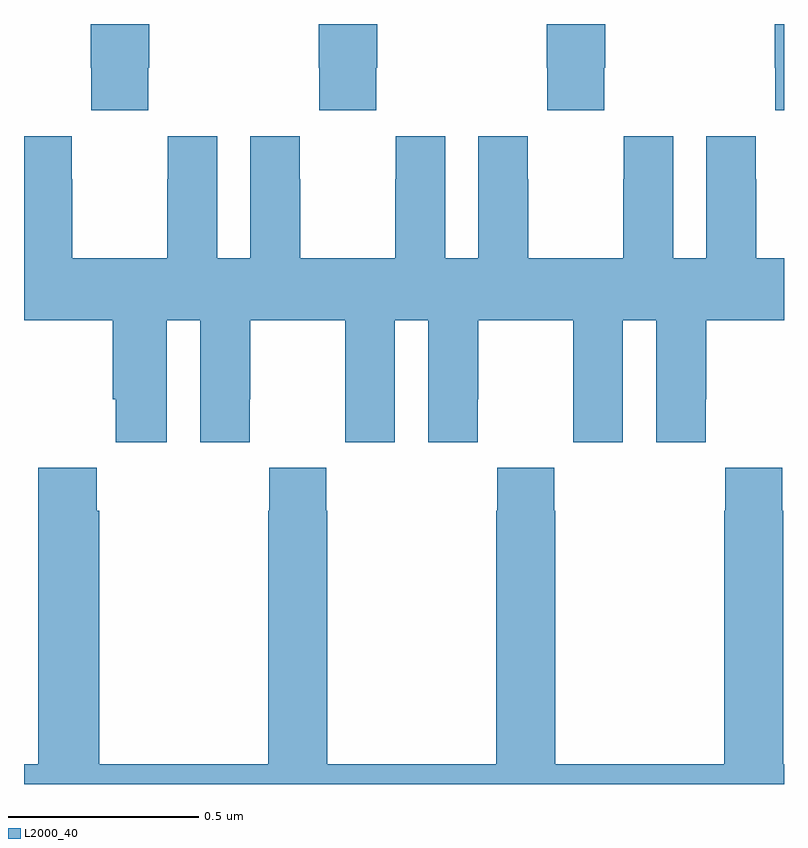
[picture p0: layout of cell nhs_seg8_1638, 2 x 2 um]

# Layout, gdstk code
import gdstk
lib = gdstk.Library(unit=1e-6, precision=1e-09)
def P(c, l, *ps):  # polygons
    for p in ps: c.add(gdstk.Polygon(p, *l))
L2000_40 = (2000, 40)

nhs_seg8_1638 = lib.new_cell('nhs_seg8_1638')
P(nhs_seg8_1638, L2000_40, [(132.327,1163.785),(132.33,1163.785),(132.33,1163.9),(132.175,1163.9),(132.175,1163.785),(132.177,1163.785),(132.177,1163.673),(132.327,1163.673)],
  [(132.927,1163.785),(132.93,1163.785),(132.93,1163.9),(132.775,1163.9),(132.775,1163.785),(132.777,1163.785),(132.777,1163.673),(132.927,1163.673)],
  [(133.527,1163.785),(133.53,1163.785),(133.53,1163.9),(133.375,1163.9),(133.375,1163.785),(133.377,1163.785),(133.377,1163.673),(133.527,1163.673)],
  [(134,1163.9),(133.975,1163.9),(133.975,1163.785),(133.977,1163.785),(133.977,1163.673),(134,1163.673)],
  [(132.376,1163.12),(132.464,1163.12),(132.464,1162.8),(132.594,1162.8),(132.594,1162.912),(132.595,1162.912),(132.595,1163.12),(132.845,1163.12),(132.845,1162.912),(132.846,1162.912),(132.846,1162.8),(132.976,1162.8),(132.976,1163.12),(133.064,1163.12),(133.064,1162.8),(133.194,1162.8),(133.194,1162.912),(133.195,1162.912),(133.195,1163.12),(133.445,1163.12),(133.445,1162.912),(133.446,1162.912),(133.446,1162.8),(133.576,1162.8),(133.576,1163.12),(133.664,1163.12),(133.664,1162.8),(133.794,1162.8),(133.794,1162.912),(133.795,1162.912),(133.795,1163.12),(134,1163.12),(134,1163.284),(133.927,1163.284),(133.927,1163.492),(133.926,1163.492),(133.926,1163.605),(133.796,1163.605),(133.796,1163.284),(133.708,1163.284),(133.708,1163.605),(133.578,1163.605),(133.578,1163.492),(133.577,1163.492),(133.577,1163.284),(133.327,1163.284),(133.327,1163.492),(133.326,1163.492),(133.326,1163.605),(133.196,1163.605),(133.196,1163.284),(133.108,1163.284),(133.108,1163.605),(132.978,1163.605),(132.978,1163.492),(132.977,1163.492),(132.977,1163.284),(132.727,1163.284),(132.727,1163.492),(132.726,1163.492),(132.726,1163.605),(132.596,1163.605),(132.596,1163.284),(132.508,1163.284),(132.508,1163.605),(132.378,1163.605),(132.378,1163.492),(132.377,1163.492),(132.377,1163.284),(132.127,1163.284),(132.127,1163.492),(132.126,1163.492),(132.126,1163.605),(132,1163.605),(132,1163.12),(132.233,1163.12),(132.233,1162.912),(132.242,1162.912),(132.242,1162.8),(132.376,1162.8)],
  [(134,1161.952),(133.998,1161.952),(133.998,1162.619),(133.995,1162.619),(133.995,1162.732),(133.845,1162.732),(133.845,1162.619),(133.843,1162.619),(133.843,1161.952),(133.398,1161.952),(133.398,1162.619),(133.395,1162.619),(133.395,1162.732),(133.245,1162.732),(133.245,1162.619),(133.243,1162.619),(133.243,1161.952),(132.798,1161.952),(132.798,1162.619),(132.795,1162.619),(132.795,1162.732),(132.645,1162.732),(132.645,1162.619),(132.643,1162.619),(132.643,1161.952),(132.198,1161.952),(132.198,1162.619),(132.191,1162.619),(132.191,1162.732),(132.038,1162.732),(132.038,1161.952),(132,1161.952),(132,1161.9),(134,1161.9)])

lib.write_gds('nhs_seg8_1638.gds')
